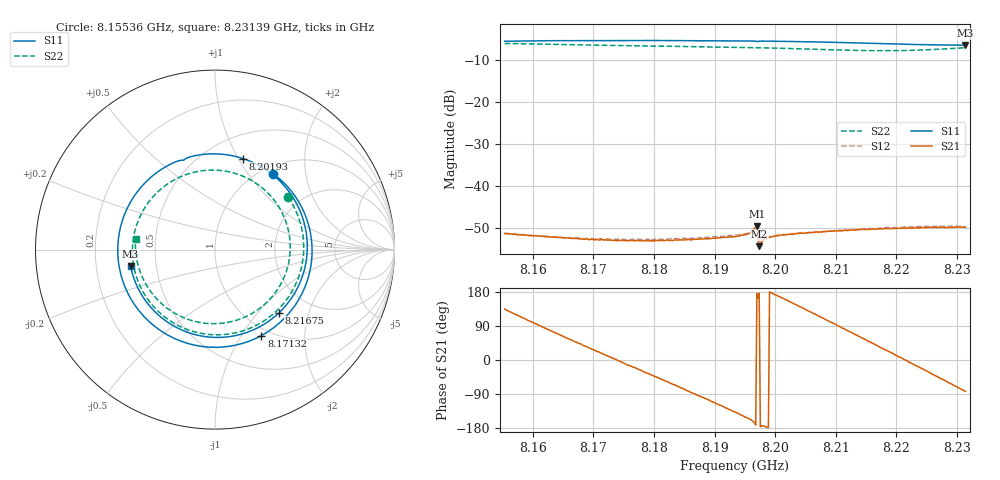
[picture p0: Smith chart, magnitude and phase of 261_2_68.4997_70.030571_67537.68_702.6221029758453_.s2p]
#  HZ  S  RI  R  50.00
! Rohde & Schwarz Vector Network Analyzer
! Rohde-Schwarz,ZNB20-2Port,1311601062101988,3.16
! Created: UTC 3/20/2024, 5:00:15 PM
! freq[Hz]  re:S11  im:S11  re:S21  im:S21  re:S12  im:S12  re:S22  im:S22
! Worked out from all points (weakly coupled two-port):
!   401 points, 8.15536 GHz to 8.23139 GHz, reference 50 ohm
!   highest |S21| = -49.49 dB at 8.19698 GHz (marker M1); lowest = -54.3 dB at 8.19736 GHz (marker M2)
!   lowest |S11| = -6.4 dB at 8.23139 GHz (marker M3), VSWR 2.84, Z = 17.7 - j4.21 ohm
!   |S11| at or under -10 dB: nowhere
!   |S22| runs from -7.7 to -6.0 dB; largest |S21 - S12| = 0.00024
!   S11 on the Smith chart (normalised r, x): 8.15536 GHz: 1.13, +1.33; 8.17132 GHz: 0.90, -1.23; 8.20193 GHz: 0.74, +1.05; 8.21675 GHz: 1.39, -1.31; 8.23139 GHz: 0.35, -0.08
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8.155355e9  0.3249 0.4224  -0.00192 0.00194  -0.00187 0.002  0.4064 0.2939
8.161818e9  0.5372 0.0574  0.00019 0.00253  0.000198 0.00253  0.4851 -0.0832
8.168091e9  0.4253 -0.3387  0.00178 0.00154  0.00181 0.00155  0.2875 -0.3873
8.171322e9  0.259 -0.4789  0.00221 0.000728  0.00225 0.000743  0.117 -0.463
8.176074e9  -0.0546 -0.5416  0.00218 -0.000592  0.00222 -0.000615  -0.1506 -0.4467
8.180826e9  -0.3513 -0.415  0.00153 -0.00165  0.00155 -0.00175  -0.3641 -0.2906
8.187099e9  -0.5409 -0.0352  -0.000103 -0.00232  -0.000155 -0.00244  -0.4581 0.0378
8.19014e9  -0.5119 0.1744  -0.000963 -0.00218  -0.00108 -0.00226  -0.4107 0.1987
8.193371e9  -0.3951 0.3668  -0.00184 -0.0017  -0.00198 -0.00171  -0.2993 0.3389
8.196603e9  -0.2059 0.4938  -0.00303 -0.000758  -0.00311 -0.000689  -0.141 0.4245
8.196983e9  -0.1789 0.4979  -0.00334 0.000287  -0.0034 0.000392  -0.1203 0.43
8.197363e9  -0.1623 0.5074  -0.00193 0.000106  -0.00197 0.000187  -0.0995 0.4348
8.197743e9  -0.1356 0.5173  -0.00213 -0.000222  -0.0022 -0.000173  -0.0784 0.4384
8.201925e9  0.1576 0.5068  -0.00246 0.000976  -0.00244 0.00111  0.1552 0.4091
8.206107e9  0.3983 0.3409  -0.0016 0.00231  -0.00157 0.00237  0.3419 0.2586
8.211429e9  0.5135 -0.0119  0.000409 0.00295  0.000488 0.00297  0.4154 -0.0449
8.216752e9  0.357 -0.3518  0.00241 0.00194  0.00247 0.00192  0.2508 -0.3261
8.218843e9  0.2333 -0.4381  0.00292 0.00115  0.00303 0.00107  0.1314 -0.3895
8.221694e9  0.0347 -0.489  0.00317 -8.57e-05  0.00326 -0.000246  -0.0552 -0.4103
8.224545e9  -0.1677 -0.4552  0.0029 -0.00137  0.00294 -0.00155  -0.2364 -0.3472
8.228157e9  -0.3748 -0.3011  0.00182 -0.00268  0.00173 -0.00287  -0.4002 -0.1633
8.231388e9  -0.4704 -0.0914  0.000421 -0.00322  0.00024 -0.00333  -0.4428 0.0569
